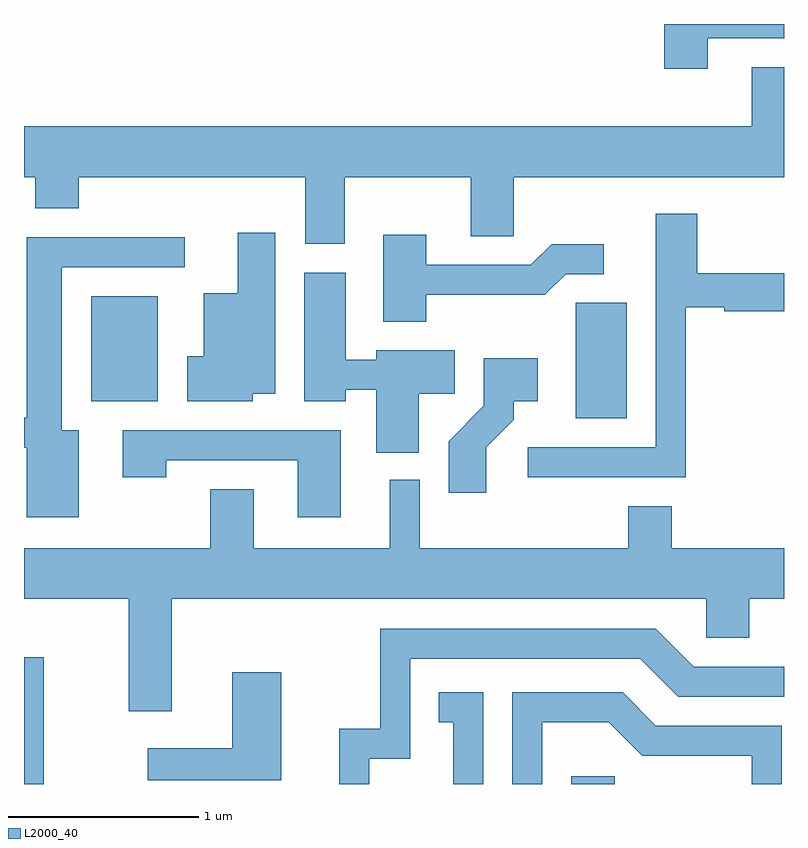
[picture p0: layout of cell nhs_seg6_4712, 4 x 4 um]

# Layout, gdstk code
import gdstk
lib = gdstk.Library(unit=1e-6, precision=1e-09)
def R(c, l, rs):  # rectangles x0, y0, x1, y1
    for r in rs: c.add(gdstk.rectangle(r[:2], r[2:], *l))
def P(c, l, *ps):  # polygons
    for p in ps: c.add(gdstk.Polygon(p, *l))
L2000_40 = (2000, 40)

nhs_seg6_4712 = lib.new_cell('nhs_seg6_4712')
R(nhs_seg6_4712, L2000_40, [(329.611,1560.162,329.714,1560.828), (332.491,1560.162,332.719,1560.204), (332.516,1562.086,332.784,1562.694), (329.966,1562.176,330.314,1562.729)])
P(nhs_seg6_4712, L2000_40, [(333.209,1564.086),(333.611,1564.086),(333.611,1564.162),(332.981,1564.162),(332.981,1563.926),(333.209,1563.926)],
  [(331.299,1563.356),(331.961,1563.356),(331.961,1563.046),(332.189,1563.046),(332.189,1563.356),(333.611,1563.356),(333.611,1563.934),(333.441,1563.934),(333.441,1563.624),(329.611,1563.624),(329.611,1563.356),(329.671,1563.356),(329.671,1563.191),(329.899,1563.191),(329.899,1563.356),(331.091,1563.356),(331.091,1563.006),(331.299,1563.006)],
  [(333.094,1562.671),(333.296,1562.671),(333.296,1562.651),(333.611,1562.651),(333.611,1562.849),(333.154,1562.849),(333.154,1563.164),(332.936,1563.164),(332.936,1561.934),(332.263,1561.934),(332.263,1561.776),(333.094,1561.776)],
  [(330.814,1562.216),(330.934,1562.216),(330.934,1563.064),(330.736,1563.064),(330.736,1562.744),(330.556,1562.744),(330.556,1562.414),(330.471,1562.414),(330.471,1562.176),(330.814,1562.176)],
  [(331.729,1562.736),(332.352,1562.736),(332.462,1562.846),(332.663,1562.846),(332.663,1563.004),(332.389,1563.004),(332.279,1562.894),(331.729,1562.894),(331.729,1563.054),(331.501,1563.054),(331.501,1562.596),(331.729,1562.596)],
  [(329.899,1562.024),(329.809,1562.024),(329.809,1562.881),(330.458,1562.881),(330.458,1563.039),(329.626,1563.039),(329.626,1562.089),(329.611,1562.089),(329.611,1561.931),(329.626,1561.931),(329.626,1561.566),(329.899,1561.566)],
  [(331.689,1562.216),(331.879,1562.216),(331.879,1562.444),(331.466,1562.444),(331.466,1562.394),(331.304,1562.394),(331.304,1562.854),(331.086,1562.854),(331.086,1562.176),(331.304,1562.176),(331.304,1562.236),(331.466,1562.236),(331.466,1561.906),(331.689,1561.906)],
  [(332.044,1561.934),(332.189,1562.079),(332.189,1562.176),(332.314,1562.176),(332.314,1562.404),(332.031,1562.404),(332.031,1562.152),(331.846,1561.967),(331.846,1561.696),(332.044,1561.696)],
  [(331.279,1562.024),(330.131,1562.024),(330.131,1561.776),(330.359,1561.776),(330.359,1561.866),(331.051,1561.866),(331.051,1561.566),(331.279,1561.566)],
  [(330.389,1561.136),(333.201,1561.136),(333.201,1560.931),(333.429,1560.931),(333.429,1561.136),(333.611,1561.136),(333.611,1561.404),(333.019,1561.404),(333.019,1561.624),(332.791,1561.624),(332.791,1561.404),(331.694,1561.404),(331.694,1561.763),(331.536,1561.763),(331.536,1561.404),(330.819,1561.404),(330.819,1561.714),(330.591,1561.714),(330.591,1561.404),(329.611,1561.404),(329.611,1561.136),(330.161,1561.136),(330.161,1560.546),(330.389,1560.546)],
  [(331.429,1560.296),(331.644,1560.296),(331.644,1560.821),(332.854,1560.821),(333.054,1560.621),(333.611,1560.621),(333.611,1560.779),(333.137,1560.779),(332.937,1560.979),(331.486,1560.979),(331.486,1560.454),(331.271,1560.454),(331.271,1560.162),(331.429,1560.162)],
  [(330.964,1560.749),(330.706,1560.749),(330.706,1560.349),(330.263,1560.349),(330.263,1560.181),(330.964,1560.181)],
  [(332.339,1560.486),(332.689,1560.486),(332.864,1560.311),(333.441,1560.311),(333.441,1560.162),(333.599,1560.162),(333.599,1560.469),(332.937,1560.469),(332.762,1560.644),(332.181,1560.644),(332.181,1560.162),(332.339,1560.162)],
  [(332.029,1560.644),(331.793,1560.644),(331.793,1560.486),(331.871,1560.486),(331.871,1560.162),(332.029,1560.162)])

lib.write_gds('nhs_seg6_4712.gds')
